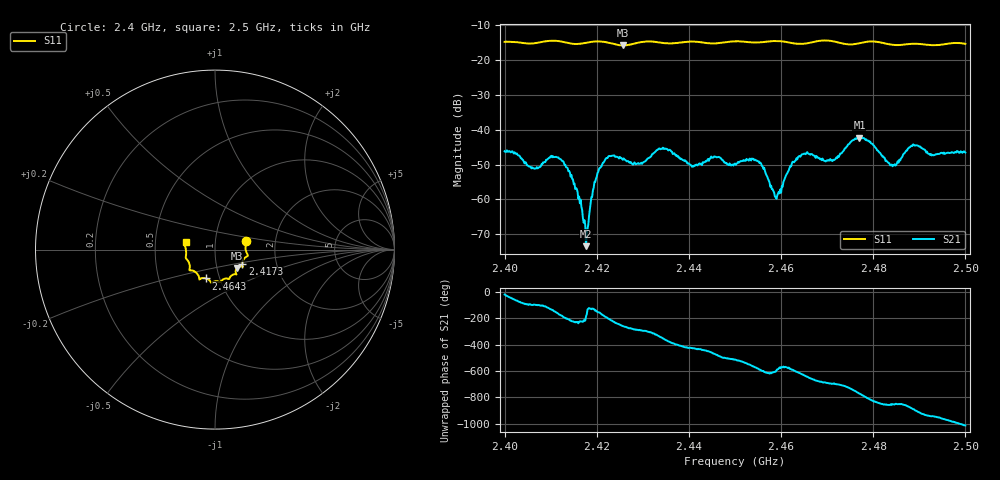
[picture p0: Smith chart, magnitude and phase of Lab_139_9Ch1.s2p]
# Hz S RI R 50
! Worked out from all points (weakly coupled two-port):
!   601 points, 2.4 GHz to 2.5 GHz, reference 50 ohm
!   highest |S21| = -42.29 dB at 2.477 GHz (marker M1); lowest = -73.4 dB at 2.4177 GHz (marker M2)
!   lowest |S11| = -15.9 dB at 2.4257 GHz (marker M3), VSWR 1.38, Z = 62.4 - j13.1 ohm
!   |S11| at or under -10 dB: start of sweep to end of sweep
!   S12 and S22 are empty: the file has one direction only
!   S11 on the Smith chart (normalised r, x): 2.4 GHz: 1.41, +0.14; 2.4173 GHz: 1.34, -0.23; 2.4643 GHz: 0.86, -0.28; 2.5 GHz: 0.72, +0.06
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2.4e9  0.1732 0.0496  0.00455 -0.00184  0 0  0 0
2.406333e9  0.1714 -0.00293  -0.000366 -0.00276  0 0  0 0
2.412167e9  0.1788 -0.037  -0.00377 -0.000124  0 0  0 0
2.416667e9  0.1527 -0.0746  -0.000554 0.000559  0 0  0 0
2.417333e9  0.1523 -0.082  -0.000384 0.00033  0 0  0 0
2.417667e9  0.1522 -0.0853  -0.000213 3.12e-05  0 0  0 0
2.420667e9  0.1546 -0.0965  -0.00265 -0.000993  0 0  0 0
2.423e9  0.1451 -0.0933  -0.00342 0.00239  0 0  0 0
2.425667e9  0.1226 -0.1023  -0.000605 0.00365  0 0  0 0
2.429667e9  0.1173 -0.1347  0.00129 0.00311  0 0  0 0
2.433333e9  0.1128 -0.1367  0.00468 0.00234  0 0  0 0
2.440833e9  0.0785 -0.1644  0.00112 -0.00281  0 0  0 0
2.45e9  0.0296 -0.1808  -0.00292 -0.00146  0 0  0 0
2.455167e9  0.000193 -0.1768  -0.00245 0.0025  0 0  0 0
2.459167e9  -0.022 -0.184  -0.000768 0.000843  0 0  0 0
2.464333e9  -0.0501 -0.1604  -0.000615 0.0042  0 0  0 0
2.466667e9  -0.076 -0.16  0.00223 0.00386  0 0  0 0
2.471333e9  -0.0872 -0.1613  0.00339 0.00149  0 0  0 0
2.477e9  -0.1268 -0.1163  0.00481 -0.00599  0 0  0 0
2.483333e9  -0.1406 -0.0896  -0.00241 -0.00229  0 0  0 0
2.488833e9  -0.1624 -0.0472  -0.00592 -0.0011  0 0  0 0
2.5e9  -0.1634 0.042  0.00174 0.00436  0 0  0 0
